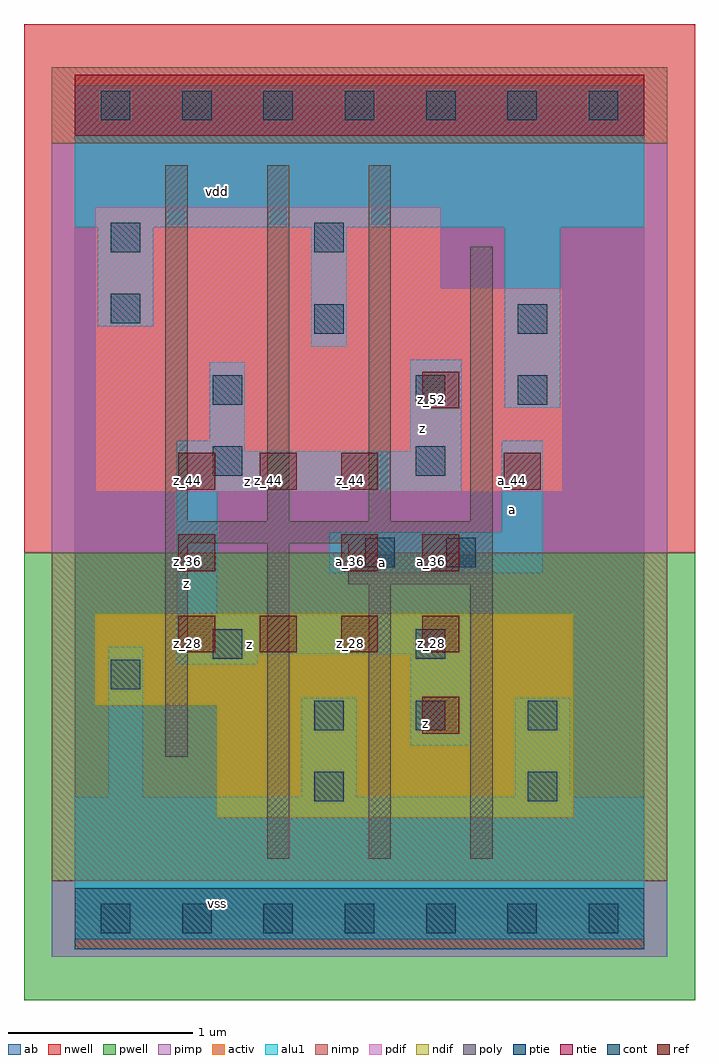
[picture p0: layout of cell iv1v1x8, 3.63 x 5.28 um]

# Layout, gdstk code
import gdstk
lib = gdstk.Library(unit=1e-6, precision=2.5e-09)
def R(c, l, rs):  # rectangles x0, y0, x1, y1
    for r in rs: c.add(gdstk.rectangle(r[:2], r[2:], *l))
def A(c, l, x, y, w, h, nx, ny, dx, dy):  # array of equal rectangles
    R(c, l, [(x+i*dx, y+j*dy, x+i*dx+w, y+j*dy+h) for i in range(nx) for j in range(ny)])
ndif = (3, 0)
pdif = (4, 0)
ntie = (5, 0)
ptie = (6, 0)
ref = (24, 0)
cont = (25, 0)
pwell = (41, 0)
nwell = (42, 0)
activ = (43, 0)
pimp = (44, 0)
nimp = (45, 0)
poly = (46, 0)
alu1 = (49, 0)
ab = (63, 0)

iv1v1x8 = lib.new_cell('iv1v1x8')
R(iv1v1x8, ndif, [(0.77,0.55,2.695,1.155), (0.11,1.155,2.695,1.65)])
R(iv1v1x8, pdif, [(0.11,2.31,2.64,3.41), (0.11,3.41,1.98,3.85)])
R(iv1v1x8, ntie, [(0,4.235,3.08,4.565)])
R(iv1v1x8, ptie, [(0,-0.165,3.08,0.165)])
A(iv1v1x8, ref, 1.88, 1, 0.2, 0.2, 1, 3, 0, 0.88)
A(iv1v1x8, ref, 0.56, 1.44, 0.2, 0.2, 4, 1, 0.44, 0)
A(iv1v1x8, ref, 0.56, 2.32, 0.2, 0.2, 3, 1, 0.44, 0)
R(iv1v1x8, ref, [(0.56,1.88,0.76,2.08), (1.44,1.88,1.64,2.08), (2.32,2.32,2.52,2.52)])
A(iv1v1x8, cont, 0.14, -0.08, 0.16, 0.16, 7, 2, 0.44, 4.4)
R(iv1v1x8, cont, [(1.295,0.635,1.455,0.795), (2.45,0.635,2.61,0.795), (1.295,1.02,1.455,1.18), (1.845,1.02,2.005,1.18), (2.45,1.02,2.61,1.18), (0.195,1.24,0.355,1.4), (0.745,1.405,0.905,1.565), (1.845,1.405,2.005,1.565), (1.57,1.9,1.73,2.06), (2.01,1.9,2.17,2.06), (0.745,2.395,0.905,2.555), (1.845,2.395,2.005,2.555), (0.745,2.78,0.905,2.94), (1.845,2.78,2.005,2.94), (2.395,2.78,2.555,2.94), (1.295,3.165,1.455,3.325), (2.395,3.165,2.555,3.325), (0.195,3.22,0.355,3.38), (0.195,3.605,0.355,3.765), (1.295,3.605,1.455,3.765)])
R(iv1v1x8, pwell, [(-0.275,-0.44,3.355,1.98)])
R(iv1v1x8, nwell, [(-0.275,1.98,3.355,4.84)])
R(iv1v1x8, activ, [(0,-0.165,3.08,0.165), (0.77,0.55,2.695,1.155), (0.11,1.155,2.695,1.65), (0.11,2.31,2.64,3.41), (0.11,3.41,1.98,3.85), (0,4.235,3.08,4.565)])
R(iv1v1x8, pimp, [(-0.125,-0.205,3.205,0.205), (-0.125,1.98,3.205,4.195)])
R(iv1v1x8, nimp, [(-0.125,0.205,3.205,1.98), (-0.125,4.195,3.205,4.605)])
A(iv1v1x8, poly, 0.49, 2.15, 0.12, 1.925, 3, 1, 0.55, 0)
R(iv1v1x8, poly, [(1.04,0.325,1.16,2.03), (1.59,0.325,1.71,1.81), (2.14,0.325,2.26,1.81), (0.49,0.875,0.61,2.03), (1.48,1.81,2.26,2.03), (0.49,2.03,2.26,2.15), (2.14,2.15,2.26,3.635)])
R(iv1v1x8, alu1, [(0,-0.11,3.08,0.66), (0.18,0.66,0.37,1.47), (1.225,0.66,1.525,1.195), (2.38,0.66,2.68,1.195), (1.815,0.935,2.145,1.43), (0.55,1.375,0.99,1.43), (0.55,1.43,2.145,1.65), (0.55,1.65,0.77,2.31), (1.375,1.87,2.53,2.09), (2.31,2.09,2.53,2.585), (0.55,2.31,2.09,2.53), (0.55,2.53,0.92,2.585), (1.815,2.53,2.09,3.025), (0.73,2.585,0.92,3.01), (2.325,2.765,2.625,3.74), (1.28,3.095,1.47,3.74), (0.125,3.205,0.425,3.74), (0,3.74,3.08,4.51)])
R(iv1v1x8, ab, [(0,0,3.08,4.4)])
iv1v1x8.add(gdstk.Label('vss', (0.77,0.0825), layer=49, texttype=0))
iv1v1x8.add(gdstk.Label('z', (1.8975,1.0575), layer=49, texttype=0))
iv1v1x8.add(gdstk.Label('z', (0.9475,1.485), layer=49, texttype=0))
iv1v1x8.add(gdstk.Label('a', (1.6625,1.925), layer=49, texttype=0))
iv1v1x8.add(gdstk.Label('a', (2.365,2.2125), layer=49, texttype=0))
iv1v1x8.add(gdstk.Label('z', (0.605,1.815), layer=49, texttype=0))
iv1v1x8.add(gdstk.Label('z', (0.935,2.365), layer=49, texttype=0))
iv1v1x8.add(gdstk.Label('z', (1.8825,2.6525), layer=49, texttype=0))
iv1v1x8.add(gdstk.Label('vdd', (0.77,3.9325), layer=49, texttype=0))
iv1v1x8.add(gdstk.Label('z_28', (0.61,1.49), layer=24, texttype=0))
iv1v1x8.add(gdstk.Label('z_36', (0.61,1.93), layer=24, texttype=0))
iv1v1x8.add(gdstk.Label('z_44', (0.61,2.37), layer=24, texttype=0))
iv1v1x8.add(gdstk.Label('z_28', (1.05,1.49), layer=24, texttype=0))
iv1v1x8.add(gdstk.Label('z_44', (1.05,2.37), layer=24, texttype=0))
iv1v1x8.add(gdstk.Label('z_28', (1.49,1.49), layer=24, texttype=0))
iv1v1x8.add(gdstk.Label('a_36', (1.49,1.93), layer=24, texttype=0))
iv1v1x8.add(gdstk.Label('z_44', (1.49,2.37), layer=24, texttype=0))
iv1v1x8.add(gdstk.Label('z_20', (1.93,1.05), layer=24, texttype=0))
iv1v1x8.add(gdstk.Label('z_28', (1.93,1.49), layer=24, texttype=0))
iv1v1x8.add(gdstk.Label('a_36', (1.93,1.93), layer=24, texttype=0))
iv1v1x8.add(gdstk.Label('z_52', (1.93,2.81), layer=24, texttype=0))
iv1v1x8.add(gdstk.Label('a_44', (2.37,2.37), layer=24, texttype=0))

lib.write_gds('iv1v1x8.gds')
